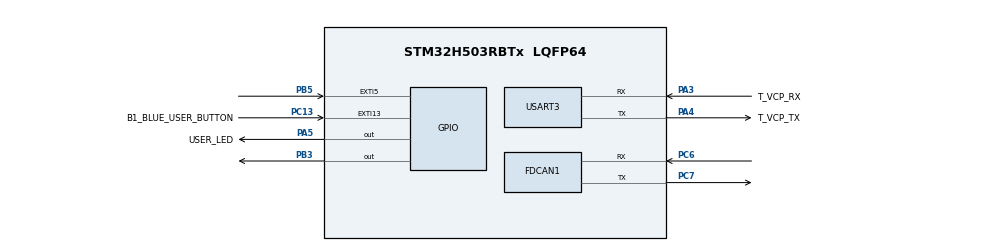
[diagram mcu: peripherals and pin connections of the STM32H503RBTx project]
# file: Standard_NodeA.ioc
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BOOTPATH.BootPathName=LEGACY
BOOTPATH.UserSelectedBootPath=LEGACY
FDCAN1.CalculateBaudRateNominal=500000
FDCAN1.CalculateTimeBitNominal=2000
FDCAN1.CalculateTimeQuantumNominal=125.0
FDCAN1.NominalPrescaler=25
FDCAN1.NominalTimeSeg1=13
FDCAN1.NominalTimeSeg2=2
Mcu.Family=STM32H5
Mcu.Name=STM32H503RBTx
Mcu.Package=LQFP64
NVIC.EXTI13_IRQn=true\:1\:0\:true\:false\:true\:true\:true\:true
NVIC.EXTI5_IRQn=true\:0\:0\:false\:false\:true\:true\:true\:true
NVIC.FDCAN1_IT0_IRQn=true\:3\:0\:true\:false\:true\:true\:true\:true
NVIC.PriorityGroup=NVIC_PRIORITYGROUP_4
NVIC.USART3_IRQn=true\:2\:0\:true\:false\:true\:true\:true\:true
PA3.GPIO_Label=T_VCP_RX
PA3.Mode=Asynchronous
PA3.Signal=USART3_RX
PA4.GPIO_Label=T_VCP_TX
PA4.Mode=Asynchronous
PA4.Signal=USART3_TX
PA5.GPIO_Label=USER_LED
PA5.Signal=GPIO_Output
PB3(JTDO/TRACESWO).Signal=GPIO_Output
PB5.GPIO_ModeDefaultEXTI=GPIO_MODE_IT_FALLING
PB5.GPIO_PuPd=GPIO_PULLUP
PB5.Signal=GPXTI5
PC13.GPIO_Label=B1_BLUE_USER_BUTTON
PC13.GPIO_ModeDefaultEXTI=GPIO_MODE_IT_FALLING
PC13.GPIO_PuPd=GPIO_PULLUP
PC13.Signal=GPXTI13
PC6.Mode=FDCAN_Activate
PC6.Signal=FDCAN1_RX
PC7.Mode=FDCAN_Activate
PC7.Signal=FDCAN1_TX
PH0-OSC_IN(PH0).Mode=HSE-External-Oscillator
PH0-OSC_IN(PH0).Signal=RCC_OSC_IN
PH1-OSC_OUT(PH1).Mode=HSE-External-Oscillator
PH1-OSC_OUT(PH1).Signal=RCC_OSC_OUT
ProjectManager.HeapSize=0x200
ProjectManager.StackSize=0x400
ProjectManager.TargetToolchain=STM32CubeIDE
RCC.ADCFreq_Value=200000000
RCC.AHBFreq_Value=200000000
RCC.APB1Freq_Value=200000000
RCC.APB1TimFreq_Value=200000000
RCC.APB2Freq_Value=200000000
RCC.APB2TimFreq_Value=200000000
RCC.APB3Freq_Value=200000000
RCC.CSI_VALUE=4000000
RCC.CortexFreq_Value=200000000
RCC.EPOD_VALUE=24000000
RCC.FDCANClockSelection=RCC_FDCANCLKSOURCE_PLL1Q
RCC.HCLKFreq_Value=200000000
RCC.HSE_VALUE=24000000
RCC.HSI48_VALUE=48000000
RCC.HSIDiv=RCC_HSI_DIV1
RCC.HSI_VALUE=64000000
RCC.LSE_VALUE=32768
RCC.LSIRC_VALUE=32000
RCC.PLLFRACN=0
RCC.PLLM=3
RCC.PLLN=50
RCC.PLLSourceVirtual=RCC_PLL1_SOURCE_HSE
RCC.SYSCLKFreq_VALUE=200000000
RCC.SYSCLKSource=RCC_SYSCLKSOURCE_PLLCLK
RCC.USBFreq_Value=48000000
RCC.VCOOutputFreq_Value=400000000
USART3.VirtualMode-Asynchronous=VM_ASYNC
VP_BOOTPATH_VS_BOOTPATH.Mode=BP_Activate
VP_CORTEX_M33_NS_VS_Hclk.Mode=Hclk_Mode
VP_MEMORYMAP_VS_MEMORYMAP.Mode=CurAppReg
VP_PWR_VS_DBSignals.Mode=DisableDeadBatterySignals
VP_PWR_VS_LPOM.Mode=PowerOptimisation
VP_PWR_VS_SECSignals.Mode=Security/Privilege
board=NUCLEO-H503RB

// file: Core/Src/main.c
/*external is send data and Internal button_buildin is change address*/

#include "main.h"
#include <stdio.h>
#define NODE_B

FDCAN_HandleTypeDef hfdcan1;
UART_HandleTypeDef huart3;
static void MX_FDCAN1_Init(void);
void SetFilter(uint16_t ID ,uint16_t msk);
void Test_Priority();
void TX_Send_CAN();
void Print_CAN_Error(void);

volatile uint8_t Counter = 0;
typedef struct{
	FDCAN_TxHeaderTypeDef   TxHeader;
	FDCAN_RxHeaderTypeDef   RxHeader;
	uint32_t msgID;
	uint8_t dataTx[4];
	uint8_t dataRx[4];
} CAN_SET;

CAN_SET CAN_Payload;

volatile uint8_t flag = 0;
#ifdef NODE_A
	uint16_t address[] = {0x000,0x001};
#endif

#ifdef NODE_B
	uint16_t address[] = {0x000,0x001};
#endif

int main(void)
{
  /* MCU Configuration--------------------------------------------------------*/

  /* Reset of all peripherals, Initializes the Flash interface and the Systick. */
  HAL_Init();
  /* Configure the system clock */
  SystemClock_Config();
  /* Initialize all configured peripherals */
  MX_GPIO_Init();
  MX_FDCAN1_Init();
  MX_USART3_UART_Init();

  CAN_Payload.dataTx[0] = 0x1;
  CAN_Payload.dataTx[1] = 0x2;
  CAN_Payload.dataTx[2] = 0x3;
  /* Infinite loop */
  while (1)
  {

    /* USER CODE BEGIN 3 */
	  if(flag == 1){
		  Print_CAN_Error();
		  flag = 0;
	  }
  }
  /* USER CODE END 3 */
}

static void MX_FDCAN1_Init(void)
{

  hfdcan1.Instance = FDCAN1;
  hfdcan1.Init.ClockDivider = FDCAN_CLOCK_DIV1;
  hfdcan1.Init.FrameFormat = FDCAN_FRAME_CLASSIC;
  hfdcan1.Init.Mode = FDCAN_MODE_NORMAL;
  hfdcan1.Init.AutoRetransmission = DISABLE;
  hfdcan1.Init.TransmitPause = DISABLE;
  hfdcan1.Init.ProtocolException = DISABLE;
  hfdcan1.Init.NominalPrescaler = 25;
  hfdcan1.Init.NominalSyncJumpWidth = 1;
  hfdcan1.Init.NominalTimeSeg1 = 13;
  hfdcan1.Init.NominalTimeSeg2 = 2;
  hfdcan1.Init.DataPrescaler = 1;
  hfdcan1.Init.DataSyncJumpWidth = 1;
  hfdcan1.Init.DataTimeSeg1 = 1;
  hfdcan1.Init.DataTimeSeg2 = 1;
  hfdcan1.Init.StdFiltersNbr = 0;
  hfdcan1.Init.ExtFiltersNbr = 0;
  hfdcan1.Init.TxFifoQueueMode = FDCAN_TX_FIFO_OPERATION;
  if (HAL_FDCAN_Init(&hfdcan1) != HAL_OK)
  {
    Error_Handler();
  }
  /* USER CODE BEGIN FDCAN1_Init 2 */
  if (HAL_FDCAN_Start(&hfdcan1) != HAL_OK) {
  	 /* Notification Error */
  	Error_Handler();
  }
  if (HAL_FDCAN_ActivateNotification(&hfdcan1, FDCAN_IT_RX_FIFO0_NEW_MESSAGE, 0) != HAL_OK)
  {
	/* Notification Error */
	Error_Handler();
  }
  /* USER CODE END FDCAN1_Init 2 */
}

/* USER CODE BEGIN 4 */
void SetFilter(uint16_t ID ,uint16_t msk){
	FDCAN_FilterTypeDef sFilterConfig;

	sFilterConfig.IdType = FDCAN_STANDARD_ID;
	sFilterConfig.FilterIndex = 0;
	sFilterConfig.FilterType = FDCAN_FILTER_MASK;
	sFilterConfig.FilterConfig = FDCAN_FILTER_TO_RXFIFO0;
	sFilterConfig.FilterID1 = ID;
	sFilterConfig.FilterID2 = msk;
	if (HAL_FDCAN_ConfigFilter(&hfdcan1, &sFilterConfig) != HAL_OK)
	{
	  /* Filter configuration Error */
	  Error_Handler();
	}
}

void Test_Priority(){

	#ifdef NODE_A
		CAN_Payload.msgID = address[Counter];
		CAN_Payload.TxHeader.IdType = FDCAN_STANDARD_ID;
		//SetFilter(0x10,0x0);
	#endif

	#ifdef NODE_B
		CAN_Payload.msgID = address[Counter];
		CAN_Payload.TxHeader.IdType = FDCAN_STANDARD_ID;
		//SetFilter(0x11,0x0);
	#endif

}

void TX_Send_CAN(){

    /* ----- Prepare CAN data --------------------------------------- */
    CAN_Payload.TxHeader.Identifier = CAN_Payload.msgID; //CAN_Payload.msgID
    CAN_Payload.TxHeader.TxFrameType = FDCAN_DATA_FRAME;
    CAN_Payload.TxHeader.DataLength = FDCAN_DLC_BYTES_3;        // 8-byte payloaD
    CAN_Payload.TxHeader.ErrorStateIndicator = FDCAN_ESI_ACTIVE;
    CAN_Payload.TxHeader.BitRateSwitch = FDCAN_BRS_OFF;         // Disable BRS
    CAN_Payload.TxHeader.FDFormat = FDCAN_CLASSIC_CAN;          // Use Classical CAN frame
    CAN_Payload.TxHeader.TxEventFifoControl = FDCAN_NO_TX_EVENTS;
    CAN_Payload.TxHeader.MessageMarker = 0;

    CAN_Payload.dataTx[0] ^= 1;

    if (HAL_FDCAN_AddMessageToTxFifoQ(&hfdcan1, &CAN_Payload.TxHeader,CAN_Payload.dataTx)!= HAL_OK)
    {
    	Error_Handler();
    }
}

void HAL_GPIO_EXTI_Falling_Callback(uint16_t GPIO_Pin){

	if(GPIO_Pin == GPIO_PIN_5) {
		Test_Priority();
		TX_Send_CAN();
		flag = 1;

	}
	if(GPIO_Pin == B1_BLUE_USER_BUTTON_Pin){
		Counter++;
		if (Counter >= sizeof(address)/sizeof(address[0])){
			Counter = 0;
		}
	}
}

void HAL_FDCAN_RxFifo0Callback(FDCAN_HandleTypeDef *hfdcan, uint32_t RxFifo0ITs)
{
	if((RxFifo0ITs & FDCAN_IT_RX_FIFO0_NEW_MESSAGE) != RESET)
	{
		/* Retreive Rx messages from RX FIFO0 */
		if (HAL_FDCAN_GetRxMessage(hfdcan, FDCAN_RX_FIFO0, &CAN_Payload.RxHeader,CAN_Payload.dataRx) != HAL_OK)
		{
			/* Reception Error */
			Error_Handler();
		}
		if (HAL_FDCAN_ActivateNotification(hfdcan, FDCAN_IT_RX_FIFO0_NEW_MESSAGE, 0) != HAL_OK)
		{
			/* Notification Error */
			Error_Handler();
		}
	}
	if(CAN_Payload.dataRx[0] == 0x1){
		HAL_GPIO_TogglePin(GPIOA, GPIO_PIN_5);
	}
}
void Print_CAN_Error(void) {
    uint32_t lec = (FDCAN1->PSR) & 0x7; /*Last error code*/

    switch (lec) {
        case 0b000:
            printf("No CAN error occurred\r\n");
            break;
        case 0b001:
            printf("Stuff error\r\n");
            break;
        case 0b010:
            printf("Form error\r\n");
            break;
        case 0b011:
            printf("Ack error\r\n");
            break;
        case 0b100:
            printf("Bit error ->Bit1 error:\r\n");
            break;
        case 0b101:
            printf("Bit error ->Bit0 error\r\n");
            break;
        case 0b110:
            printf("CRC error: CRC mismatch on received frame\r\n");
            break;
        case 0b111:
            printf("LEC unchanged: No event since last read\r\n"); /*When read lec it reset to 111*/
            break;
    }
}

int __io_putchar(int ch)
{
    HAL_UART_Transmit(&huart3, (uint8_t*)&ch, 1,1000);
    return ch;
}
/* USER CODE END 4 */

void Error_Handler(void)
{
  __disable_irq();
  while (1)
  {
  }
}
